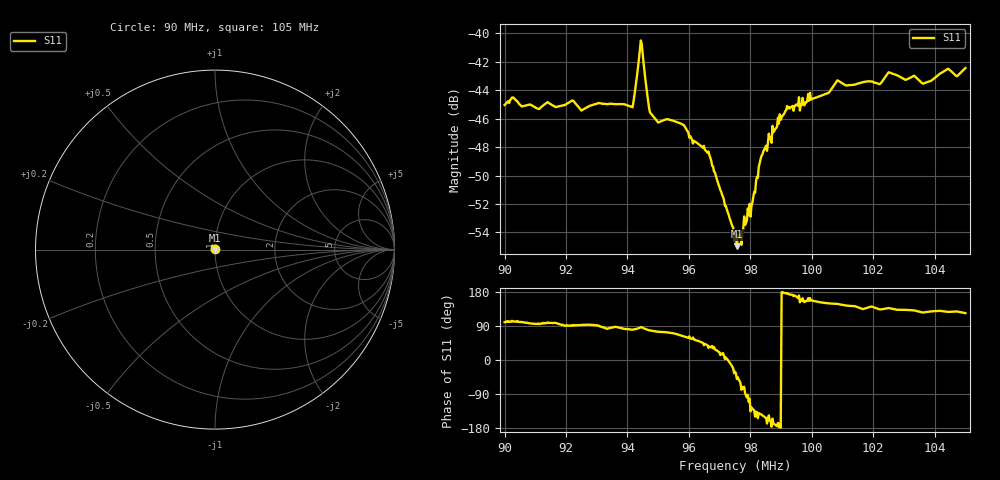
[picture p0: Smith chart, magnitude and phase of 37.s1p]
# HZ S RI R 50
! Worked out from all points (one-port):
!   505 points, 90 MHz to 105 MHz, reference 50 ohm
!   lowest |S11| = -55.0 dB at 97.56 MHz (marker M1), VSWR 1.00, Z = 50.1 - j0.138 ohm
!   |S11| at or under -10 dB: start of sweep to end of sweep
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9e7  -0.000954 0.00552
9.026786e7  -0.00123 0.00582
9.107143e7  -0.000487 0.00541
9.187501e7  -0.000248 0.00556
9.375001e7  0.000489 0.00561
9.416668e7  0.00095 0.00541
9.443454e7  0.000544 0.00941
9.449406e7  0.000747 0.00843
9.467263e7  0.00109 0.00566
9.479168e7  0.00113 0.00504
9.562502e7  0.00184 0.0045
9.666669e7  0.00303 0.00218
9.750002e7  0.00172 -0.00103
9.755955e7  0.00114 -0.00137
9.770836e7  0.000356 -0.00177
9.800598e7  -0.00162 -0.00159
9.842265e7  -0.00325 -0.00205
9.895836e7  -0.00508 -0.00105
9.937503e7  -0.00549 0.00081
1.00506e8  -0.00532 0.00309
1.008334e8  -0.0058 0.00361
1.0125e8  -0.00524 0.00396
1.022024e8  -0.00456 0.00479
1.025298e8  -0.00528 0.00499
1.03125e8  -0.00462 0.00514
1.036608e8  -0.0039 0.00541
1.044048e8  -0.00452 0.00594
1.05e8  -0.00418 0.00628
